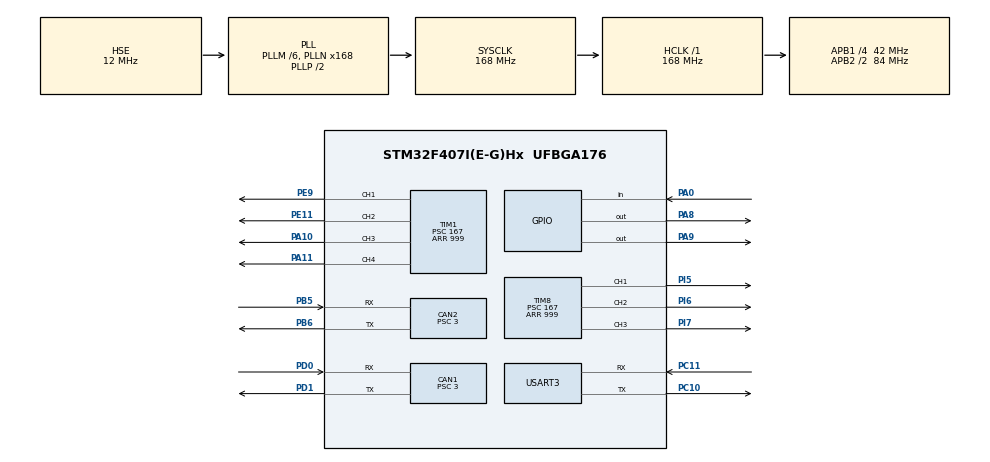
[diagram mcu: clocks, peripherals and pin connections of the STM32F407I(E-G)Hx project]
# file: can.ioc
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CAN1.BS1=CAN_BS1_10TQ
CAN1.BS2=CAN_BS2_3TQ
CAN1.CalculateBaudRate=1000000
CAN1.CalculateTimeQuantum=71.42857142857143
CAN1.Prescaler=3
CAN2.BS1=CAN_BS1_10TQ
CAN2.BS2=CAN_BS2_3TQ
CAN2.CalculateBaudRate=1000000
CAN2.CalculateTimeQuantum=71.42857142857143
CAN2.Prescaler=3
Dma.Request0=USART3_RX
Dma.Request1=USART3_TX
Dma.USART3_RX.0.Direction=DMA_PERIPH_TO_MEMORY
Dma.USART3_RX.0.FIFOMode=DMA_FIFOMODE_DISABLE
Dma.USART3_RX.0.Instance=DMA1_Stream1
Dma.USART3_RX.0.MemDataAlignment=DMA_MDATAALIGN_BYTE
Dma.USART3_RX.0.MemInc=DMA_MINC_ENABLE
Dma.USART3_RX.0.Mode=DMA_CIRCULAR
Dma.USART3_RX.0.PeriphDataAlignment=DMA_PDATAALIGN_BYTE
Dma.USART3_RX.0.PeriphInc=DMA_PINC_DISABLE
Dma.USART3_RX.0.Priority=DMA_PRIORITY_LOW
Dma.USART3_TX.1.Direction=DMA_MEMORY_TO_PERIPH
Dma.USART3_TX.1.FIFOMode=DMA_FIFOMODE_DISABLE
Dma.USART3_TX.1.Instance=DMA1_Stream3
Dma.USART3_TX.1.MemDataAlignment=DMA_MDATAALIGN_BYTE
Dma.USART3_TX.1.MemInc=DMA_MINC_ENABLE
Dma.USART3_TX.1.Mode=DMA_CIRCULAR
Dma.USART3_TX.1.PeriphDataAlignment=DMA_PDATAALIGN_BYTE
Dma.USART3_TX.1.PeriphInc=DMA_PINC_DISABLE
Dma.USART3_TX.1.Priority=DMA_PRIORITY_LOW
Mcu.Family=STM32F4
Mcu.Name=STM32F407I(E-G)Hx
Mcu.Package=UFBGA176
NVIC.CAN1_RX0_IRQn=true\:0\:0\:false\:false\:true\:true\:true\:true
NVIC.CAN2_RX0_IRQn=true\:0\:0\:false\:false\:true\:true\:true\:true
NVIC.DMA1_Stream1_IRQn=true\:0\:0\:false\:false\:true\:false\:true\:true
NVIC.DMA1_Stream3_IRQn=true\:0\:0\:false\:false\:true\:false\:true\:true
NVIC.PriorityGroup=NVIC_PRIORITYGROUP_4
NVIC.TIM5_IRQn=true\:0\:0\:false\:false\:true\:true\:true\:true
NVIC.USART3_IRQn=true\:0\:0\:false\:false\:true\:true\:true\:true
PA0-WKUP.GPIO_PuPd=GPIO_PULLUP
PA0-WKUP.Signal=GPIO_Input
PA10.Signal=S_TIM1_CH3
PA11.Signal=S_TIM1_CH4
PA13.Mode=Serial_Wire
PA13.Signal=SYS_JTMS-SWDIO
PA14.Mode=Serial_Wire
PA14.Signal=SYS_JTCK-SWCLK
PA8.Signal=GPIO_Output
PA9.Signal=GPIO_Output
PB5.Mode=CAN_Activate
PB5.Signal=CAN2_RX
PB6.Mode=CAN_Activate
PB6.Signal=CAN2_TX
PC10.Mode=Asynchronous
PC10.Signal=USART3_TX
PC11.Mode=Asynchronous
PC11.Signal=USART3_RX
PD0.Mode=CAN_Activate
PD0.Signal=CAN1_RX
PD1.Mode=CAN_Activate
PD1.Signal=CAN1_TX
PE11.Signal=S_TIM1_CH2
PE9.Signal=S_TIM1_CH1
PH0-OSC_IN.Mode=HSE-External-Oscillator
PH0-OSC_IN.Signal=RCC_OSC_IN
PH1-OSC_OUT.Mode=HSE-External-Oscillator
PH1-OSC_OUT.Signal=RCC_OSC_OUT
PI5.Signal=S_TIM8_CH1
PI6.Signal=S_TIM8_CH2
PI7.Signal=S_TIM8_CH3
ProjectManager.HeapSize=0x200
ProjectManager.StackSize=0x400
ProjectManager.TargetToolchain=MDK-ARM V5
RCC.48MHZClocksFreq_Value=84000000
RCC.AHBFreq_Value=168000000
RCC.APB1CLKDivider=RCC_HCLK_DIV4
RCC.APB1Freq_Value=42000000
RCC.APB1TimFreq_Value=84000000
RCC.APB2CLKDivider=RCC_HCLK_DIV2
RCC.APB2Freq_Value=84000000
RCC.APB2TimFreq_Value=168000000
RCC.CortexFreq_Value=168000000
RCC.HCLKFreq_Value=168000000
RCC.HSE_VALUE=12000000
RCC.HSI_VALUE=16000000
RCC.LSE_VALUE=32768
RCC.PLLM=6
RCC.PLLN=168
RCC.PLLSourceVirtual=RCC_PLLSOURCE_HSE
RCC.SYSCLKFreq_VALUE=168000000
RCC.SYSCLKSource=RCC_SYSCLKSOURCE_PLLCLK
RCC.VCOOutputFreq_Value=336000000
SH.S_TIM1_CH1.0=TIM1_CH1,PWM Generation1 CH1
SH.S_TIM1_CH2.0=TIM1_CH2,PWM Generation2 CH2
SH.S_TIM1_CH3.0=TIM1_CH3,PWM Generation3 CH3
SH.S_TIM1_CH4.0=TIM1_CH4,PWM Generation4 CH4
SH.S_TIM8_CH1.0=TIM8_CH1,PWM Generation1 CH1
SH.S_TIM8_CH2.0=TIM8_CH2,PWM Generation2 CH2
SH.S_TIM8_CH3.0=TIM8_CH3,PWM Generation3 CH3
TIM1.Channel-PWM\ Generation1\ CH1=TIM_CHANNEL_1
TIM1.Channel-PWM\ Generation2\ CH2=TIM_CHANNEL_2
TIM1.Channel-PWM\ Generation3\ CH3=TIM_CHANNEL_3
TIM1.Channel-PWM\ Generation4\ CH4=TIM_CHANNEL_4
TIM1.Period=999
TIM1.Prescaler=167
TIM5.Period=999999
TIM5.Prescaler=83
TIM8.Channel-PWM\ Generation1\ CH1=TIM_CHANNEL_1
TIM8.Channel-PWM\ Generation2\ CH2=TIM_CHANNEL_2
TIM8.Channel-PWM\ Generation3\ CH3=TIM_CHANNEL_3
TIM8.Period=999
TIM8.Prescaler=167
USART3.VirtualMode=VM_ASYNC
VP_TIM1_VS_ClockSourceINT.Mode=Internal
VP_TIM5_VS_ClockSourceINT.Mode=Internal
VP_TIM8_VS_ClockSourceINT.Mode=Internal
board=custom

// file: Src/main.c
/* USER CODE BEGIN Header */
/**
  ******************************************************************************
  * @file           : main.c
  * @brief          : Main program body
  ******************************************************************************
  * @attention
  *
  * <h2><center>&copy; Copyright (c) 2019 STMicroelectronics.
  * All rights reserved.</center></h2>
  *
  * This software component is licensed by ST under BSD 3-Clause license,
  * the "License"; You may not use this file except in compliance with the
  * License. You may obtain a copy of the License at:
  *                        opensource.org/licenses/BSD-3-Clause
  *
  ******************************************************************************
  */
/* USER CODE END Header */
#include "main.h"
#include "can.h"
#include "dma.h"
#include "tim.h"
#include "usart.h"
#include "gpio.h"

/* USER CODE BEGIN Includes */
#include "bsp_can.h"
#include "CAN_receive.h"
/* USER CODE END Includes */

/* USER CODE BEGIN PTD */
#include "pid.h"
#include "remote_control.h"
#include "math.h"

/* USER CODE END PTD */

/* USER CODE BEGIN PV */
pid_type_def motor0_pid;
pid_type_def motor0_pid_err;
pid_type_def motor0_pid_pos;
pid_type_def motor1_pid;
pid_type_def motor2_pid;
pid_type_def motor3_pid;
pid_type_def motor4_pid;
pid_type_def motor5_pid;
pid_type_def motor6_pid;
pid_type_def motor7_pid;

const RC_ctrl_t *local_rc_ctrl;

const motor_measure_t *motor_data0;	//声明电机结构体
const motor_measure_t *motor_data1;	//声明电机结构体
const motor_measure_t *motor_data2;	//声明电机结构体
const motor_measure_t *motor_data3;	//声明电机结构体
const motor_measure_t *motor_data4;	//声明电机结构体
const motor_measure_t *motor_data5;	//声明电机结构体
const motor_measure_t *motor_data6;	//声明电机结构体
const motor_measure_t *motor_data7;
int set_speed = 0;							//目标速度
const fp32 PID[3]={10,0.1f,0.2};	//P,I,D
float Fire_Speed = 0;//通过PWM调整射速，0-999
/* USER CODE END PV */

void SystemClock_Config(void);
/* USER CODE BEGIN PFP */
double msp(double x, double in_min, double in_max, double out_min, double out_max)//映射函数，将编码器的值（0~8191）转换为弧度制的角度值（-pi~pi）
{
    return (x-in_min)*(out_max-out_min)/(in_max-in_min)+out_min;
}
/* USER CODE END PFP */

int main(void)
{

  /* USER CODE BEGIN 1 */
int aaa = 0;
  /* USER CODE END 1 */

  /* MCU Configuration--------------------------------------------------------*/

  /* Reset of all peripherals, Initializes the Flash interface and the Systick. */
  HAL_Init();

  /* Configure the system clock */
  SystemClock_Config();

  /* Initialize all configured peripherals */
  MX_GPIO_Init();
  MX_DMA_Init();
  MX_CAN1_Init();
  MX_CAN2_Init();
  MX_TIM8_Init();
  MX_USART3_UART_Init();
  MX_TIM1_Init();
  MX_TIM5_Init();
  /* USER CODE BEGIN 2 */
    can_filter_init();
	PID_init(&motor0_pid_err,PID_POSITION,PID,16000,2000);
	PID_init(&motor0_pid_pos,PID_POSITION,PID,100,20);
	PID_init(&motor0_pid,PID_DELTA,PID,16000,2000);
	PID_init(&motor6_pid,PID_POSITION,PID,16000,8000);

	motor_data0 = get_chassis_motor_measure_point(0);
	motor_data6 = get_trigger_motor_measure_point();

  /* USER CODE END 2 */

  /* Infinite loop */
  /* USER CODE BEGIN WHILE */
  set_speed = 1000;
  uint32_t pos = 0;
  uint32_t last_pos = 0;
  uint32_t pos_err = 0;
  uint32_t turns = 0;
  uint32_t set_pos = 4000;
  while (1)
  {
		aaa++;
//		pos = motor_data0->ecd;
//		last_pos = motor_data0->last_ecd;
//		pos_err = pos - last_pos;
//		PID_calc(&motor0_pid_pos,pos,set_pos);
//		if(abs(set_pos-pos)>= abs(pos-set_pos))motor0_pid_pos.out = motor0_pid_pos.out;
//		else motor0_pid_pos.out = -motor0_pid_pos.out;
//		PID_calc(&motor0_pid,motor_data0->speed_rpm,motor0_pid_pos.out);
//		CAN_cmd_chassis(motor0_pid.out,0,0,0);
//		HAL_Delay(1);

//	if( aaa > 5000 && abs(motor_data6->speed_rpm)<100 && 	abs(motor_data6->given_current) > 8000 	)
//	{
//
//		for(int i = 0;i<300;i++)
//		{
//			set_speed = -100;//5000
//		PID_calc(&motor6_pid,motor_data6->speed_rpm,set_speed);
////		CAN_cmd_chassis(motor0_pid.out-3000,0,0,0);
//			CAN_cmd_gimbal(0,motor6_pid.out,0,0);
//		HAL_Delay(1);
//		}
//	}
//	else
//	{
//		if(aaa < 5000)
//		{
//		set_speed = 10000;
//		PID_calc(&motor6_pid,motor_data6->speed_rpm,set_speed);
////		CAN_cmd_chassis(motor0_pid.out+1000,0,0,0);
//			CAN_cmd_gimbal(0,0,motor6_pid.out+1000,0);
//		HAL_Delay(1);
//		}
//		else
//		{
		set_speed = 10000;//10000
		PID_calc(&motor6_pid,motor_data6->speed_rpm,set_speed);
//		CAN_cmd_chassis(motor0_pid.out,0,0,0);
			CAN_cmd_gimbal(0,0,motor6_pid.out,0);
		HAL_Delay(1);
//		}
//	}
//

//		HAL_Delay(1);

    /* USER CODE END WHILE */

  }
}

void SystemClock_Config(void)
{
  RCC_OscInitTypeDef RCC_OscInitStruct = {0};
  RCC_ClkInitTypeDef RCC_ClkInitStruct = {0};

  /** Configure the main internal regulator output voltage
  */
  __HAL_RCC_PWR_CLK_ENABLE();
  __HAL_PWR_VOLTAGESCALING_CONFIG(PWR_REGULATOR_VOLTAGE_SCALE1);

  /** Initializes the RCC Oscillators according to the specified parameters
  * in the RCC_OscInitTypeDef structure.
  */
  RCC_OscInitStruct.OscillatorType = RCC_OSCILLATORTYPE_HSE;
  RCC_OscInitStruct.HSEState = RCC_HSE_ON;
  RCC_OscInitStruct.PLL.PLLState = RCC_PLL_ON;
  RCC_OscInitStruct.PLL.PLLSource = RCC_PLLSOURCE_HSE;
  RCC_OscInitStruct.PLL.PLLM = 6;
  RCC_OscInitStruct.PLL.PLLN = 168;
  RCC_OscInitStruct.PLL.PLLP = RCC_PLLP_DIV2;
  RCC_OscInitStruct.PLL.PLLQ = 4;
  if (HAL_RCC_OscConfig(&RCC_OscInitStruct) != HAL_OK)
  {
    Error_Handler();
  }

  /** Initializes the CPU, AHB and APB buses clocks
  */
  RCC_ClkInitStruct.ClockType = RCC_CLOCKTYPE_HCLK|RCC_CLOCKTYPE_SYSCLK
                              |RCC_CLOCKTYPE_PCLK1|RCC_CLOCKTYPE_PCLK2;
  RCC_ClkInitStruct.SYSCLKSource = RCC_SYSCLKSOURCE_PLLCLK;
  RCC_ClkInitStruct.AHBCLKDivider = RCC_SYSCLK_DIV1;
  RCC_ClkInitStruct.APB1CLKDivider = RCC_HCLK_DIV4;
  RCC_ClkInitStruct.APB2CLKDivider = RCC_HCLK_DIV2;

  if (HAL_RCC_ClockConfig(&RCC_ClkInitStruct, FLASH_LATENCY_5) != HAL_OK)
  {
    Error_Handler();
  }
}

void Error_Handler(void)
{
}
